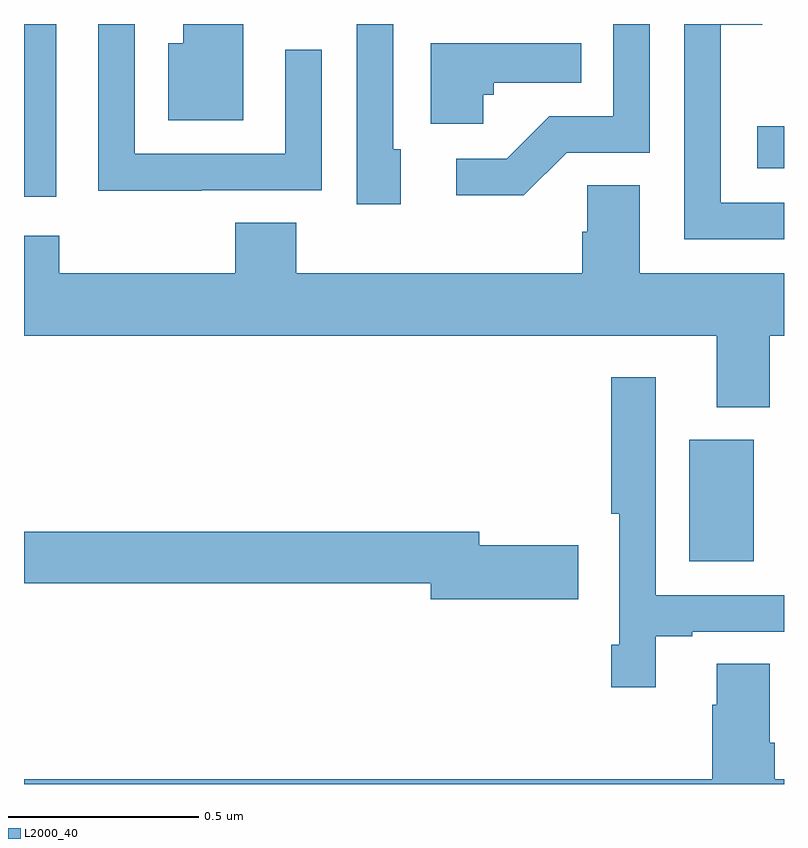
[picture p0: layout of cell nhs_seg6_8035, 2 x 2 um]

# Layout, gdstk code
import gdstk
lib = gdstk.Library(unit=1e-6, precision=1e-09)
def R(c, l, rs):  # rectangles x0, y0, x1, y1
    for r in rs: c.add(gdstk.rectangle(r[:2], r[2:], *l))
def P(c, l, *ps):  # polygons
    for p in ps: c.add(gdstk.Polygon(p, *l))
L2000_40 = (2000, 40)

nhs_seg6_8035 = lib.new_cell('nhs_seg6_8035')
R(nhs_seg6_8035, L2000_40, [(217.751,936.086,217.921,936.406), (216,937.046,216.085,937.5), (217.929,937.121,218,937.231)])
P(nhs_seg6_8035, L2000_40, [(216.577,937.5),(216.419,937.5),(216.419,937.45),(216.38,937.45),(216.38,937.247),(216.577,937.247)],
  [(216.991,937.17),(216.972,937.17),(216.972,937.5),(216.876,937.5),(216.876,937.026),(216.991,937.026)],
  [(218,937.029),(217.833,937.029),(217.833,937.498),(217.943,937.498),(217.943,937.5),(217.737,937.5),(217.737,936.933),(218,936.933)],
  [(216.467,937.062),(216.783,937.062),(216.783,937.432),(216.687,937.432),(216.687,937.158),(216.291,937.158),(216.291,937.5),(216.195,937.5),(216.195,937.061),(216.467,937.061)],
  [(217.428,937.161),(217.647,937.161),(217.647,937.5),(217.551,937.5),(217.551,937.257),(217.382,937.257),(217.271,937.146),(217.137,937.146),(217.137,937.049),(217.315,937.049)],
  [(217.209,937.314),(217.236,937.314),(217.236,937.346),(217.466,937.346),(217.466,937.45),(217.07,937.45),(217.07,937.238),(217.209,937.238)],
  [(217.963,936.68),(218,936.68),(218,936.844),(217.621,936.844),(217.621,937.076),(217.482,937.076),(217.482,936.953),(217.469,936.953),(217.469,936.844),(216.716,936.844),(216.716,936.977),(216.556,936.977),(216.556,936.844),(216.093,936.844),(216.093,936.943),(216,936.943),(216,936.68),(217.823,936.68),(217.823,936.491),(217.963,936.491)],
  [(217.663,935.889),(217.759,935.889),(217.759,935.901),(218,935.901),(218,935.997),(217.662,935.997),(217.662,936.571),(217.546,936.571),(217.546,936.211),(217.566,936.211),(217.566,935.866),(217.546,935.866),(217.546,935.754),(217.663,935.754)],
  [(217.459,936.128),(217.198,936.128),(217.198,936.164),(216,936.164),(216,936.028),(217.07,936.028),(217.07,935.986),(217.459,935.986)],
  [(218,935.512),(217.976,935.512),(217.976,935.608),(217.963,935.608),(217.963,935.816),(217.823,935.816),(217.823,935.708),(217.811,935.708),(217.811,935.512),(216,935.512),(216,935.5),(218,935.5)])

lib.write_gds('nhs_seg6_8035.gds')
